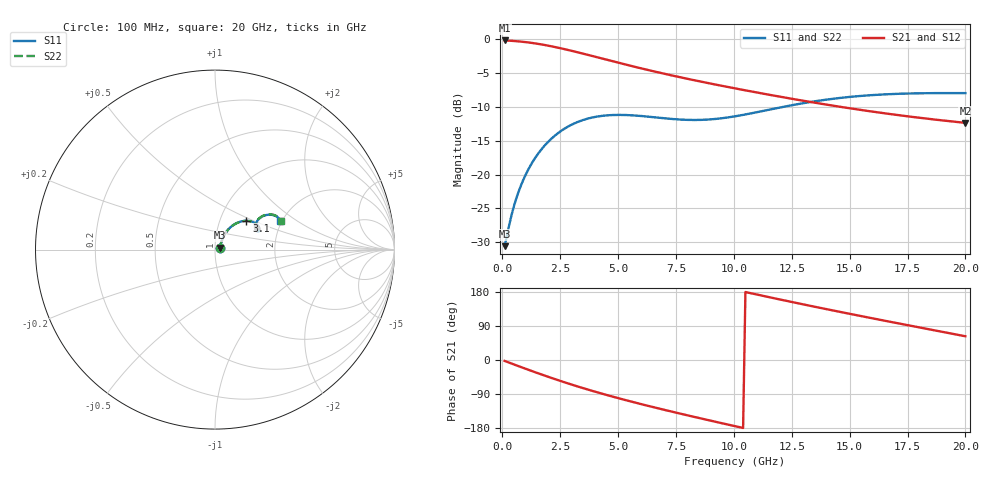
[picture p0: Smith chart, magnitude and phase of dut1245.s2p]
! Touchstone file exported from HFSS 2024.1.0
!  File:  C:/UserFiles/LocalFiles/RDL_TSV_Batchsim/temp_RDL_TSV_1245_1780268304.aedt
!  Generated:  07:14:48 AM Jun  1, 2026
!  Design:  RDL_TSV
!  Project:  temp_RDL_TSV_1245_1780268304
!  Setup:  Setup1
!  Solution:  Sweep
! Variables:
!  dtsv = 6.14um
!  hbump = 3um
!  htsv = 91.41um
!  ldown = 547.9um
!  lrdl = 692.41um
!  p = 40
!  p1 = 46.73um
!  rhole = 10um
!  subl = 4413.34um
!  t = 450um
!  tdown = 2.12um
!  trdl = 4.52um
!  viad = 10um
!  wdown = 24.36um
!  wrdl = 14.19um
!  xbump = 18um
# GHz S MA R 50.000000
! Terminal data exported
! Port[1] = TM1_1_T1
! Port[2] = TM1_4_T1
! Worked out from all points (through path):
!   200 points, 100 MHz to 20 GHz, reference 50 ohm
!   highest |S21| = -0.25 dB at 100 MHz (marker M1); lowest = -12.4 dB at 20 GHz (marker M2)
!   group delay of S21, straight-line fit = 39.6 ps
!   lowest |S11| = -30.6 dB at 100 MHz (marker M3), VSWR 1.06, Z = 52.9 + j1.06 ohm
!   |S11| at or under -10 dB: start of sweep to 12.18 GHz
!   |S22| runs from -30.6 to -8.0 dB; largest |S21 - S12| = 7.6e-15
!   S11 on the Smith chart (normalised r, x): 100 MHz: 1.06, +0.02; 3.1 GHz: 1.34, +0.45; 20 GHz: 1.96, +0.74
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0.1  0.02965 19.7  0.9721 -2.4  0.9721 -2.4  0.02965 19.7
! Gamma 0 0 0 0
! Port Impedance 50 0 50 0
0.4  0.05029 47.7  0.9662 -9.4  0.9662 -9.4  0.05029 47.7
0.6  0.0663 53.6  0.9605 -14.0  0.9605 -14.0  0.06629 53.6
0.9  0.0907 57.0  0.9497 -20.8  0.9497 -20.8  0.09069 57.0
1.2  0.115 57.4  0.9363 -27.5  0.9363 -27.5  0.115 57.4
1.6  0.1464 55.7  0.9145 -36.2  0.9145 -36.2  0.1463 55.7
2.1  0.1823 51.9  0.882 -46.9  0.882 -46.9  0.1822 51.8
2.6  0.213 47.3  0.8456 -57.1  0.8456 -57.1  0.2128 47.2
3.1  0.2376 42.4  0.8072 -66.9  0.8072 -66.9  0.2373 42.4
3.5  0.2525 38.7  0.7762 -74.5  0.7762 -74.5  0.2521 38.7
4.2  0.2689 32.8  0.7233 -87.0  0.7233 -87.0  0.2684 32.7
5.1  0.2749 26.9  0.6605 -102.2  0.6605 -102.2  0.2742 26.8
5.9  0.2707 23.7  0.611 -114.9  0.611 -114.9  0.2699 23.7
6.8  0.2616 22.5  0.5623 -128.6  0.5623 -128.6  0.2607 22.6
7.6  0.2546 23.6  0.5243 -140.3  0.5243 -140.3  0.2537 23.8
8.4  0.2523 26.2  0.4905 -151.8  0.4905 -151.8  0.2515 26.4
10.1  0.2692 32.4  0.4296 -175.3  0.4296 -175.3  0.2689 32.7
11.8  0.3069 35.1  0.3795 162.2  0.3795 162.2  0.3072 35.4
13.4  0.3442 34.0  0.3403 141.7  0.3403 141.7  0.3449 34.3
15  0.3729 31.2  0.3077 121.9  0.3077 121.9  0.374 31.5
16.7  0.3908 27.9  0.2796 101.4  0.2796 101.4  0.3923 28.1
20  0.3978 23.7  0.2402 62.6  0.2402 62.6  0.3997 23.8
